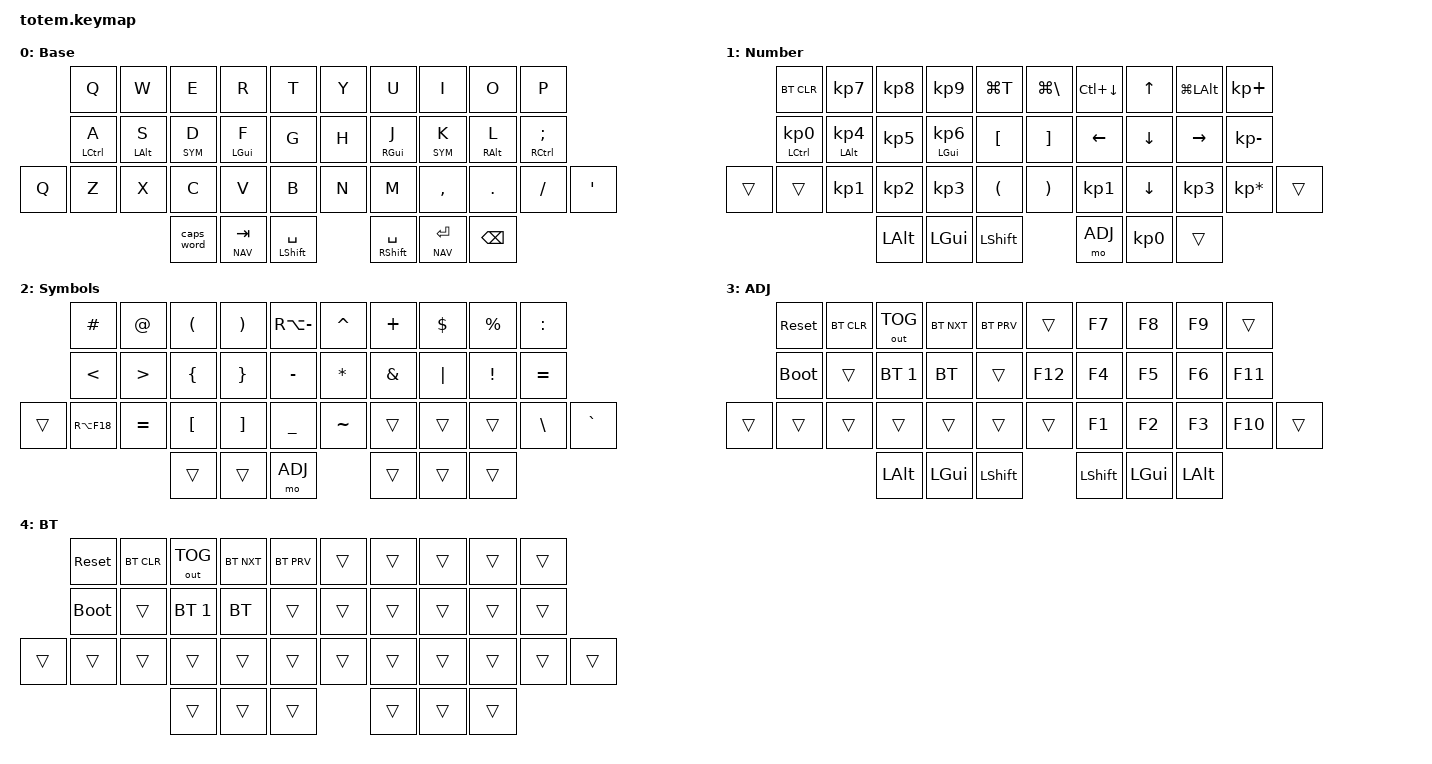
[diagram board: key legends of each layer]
//
//                                                        ▀▀▀▀▀     ▀▀▀▀▀          ▀▀█▀▀
//                                                        ▄▀▀▀▄  ▄  ▄▀▀▀▄  ▄  ▄▀▀▀▄  █  ▄▀▀▀▄
//                                                        █   █  █  █   █  █  █   █  █  █   █
//                                                         ▀▀▀   █   ▀▀▀   █   ▀▀▀   ▀   ▀▀▀
//                                                               █      ▄▄▄█▄▄▄    █   █  
//                                                               ▀      █  █  █     █▄█
//                                                             ▀▀▀▀▀    █  █  █      ▀
//                                                                      ▀  ▀  ▀
//
// ▄▄▄▄▄▄▄▄▄▄▄▄▄▄▄▄▄▄▄▄▄▄▄▄▄▄▄▄▄▄▄▄▄▄▄▄▄▄▄▄▄▄▄▄▄▄▄▄▄▄▄▄▄▄▄▄▄▄▄▄▄▄▄▄▄▄▄▄▄▄▄▄▄▄▄▄▄▄▄▄▄▄▄▄▄▄▄▄▄▄▄▄▄▄▄▄▄▄▄▄▄▄▄▄▄▄▄▄▄▄▄▄▄▄▄▄▄▄▄▄▄▄▄▄▄▄▄▄▄▄▄▄▄▄▄▄▄▄▄▄▄▄▄▄▄▄▄▄▄
       

#include <behaviors.dtsi>
#include <dt-bindings/zmk/keys.h>
#include <dt-bindings/zmk/bt.h>
#include <dt-bindings/zmk/outputs.h>

#define BASE 0
#define NAV  1
#define SYM  2
#define ADJ  3
#define SETT 4

&mt {
  quick-tap-ms = <100>;
  global-quick-tap;
  flavor = "tap-preferred";
  tapping-term-ms = <170>;
};

/ {
     combos {
            compatible = "zmk,combos";
            combo_esc {
                timeout-ms = <50>;
                key-positions = <0 1>;
                bindings = <&kp ESC>;
            };
            combo_undo {
                timeout-ms = <50>;
                key-positions = <21 22>;
                bindings = <&kp LG(X)>;
            };
            combo_alt_undo {
                timeout-ms = <50>;
                key-positions = <10 21>;
                bindings = <&kp LG(X)>;
            };
            combo_cut {
                timeout-ms = <50>;
                key-positions = <22 23>;
                bindings = <&kp LG(X)>;
            };
            combo_alt_cut {
                timeout-ms = <50>;
                key-positions = <11 22>;
                bindings = <&kp LG(X)>;
            };
            combo_copy {
                timeout-ms = <50>;
                key-positions = <23 24>;
                bindings = <&kp LG(C)>;
            };
            combo_alt_copy {
                timeout-ms = <50>;
                key-positions = <12 23>;
                bindings = <&kp LG(C)>;
            };
            combo_paste {
                timeout-ms = <50>;
                key-positions = <24 25>;
                bindings = <&kp LG(V)>;
            };
            combo_alt_paste {
                timeout-ms = <50>;
                key-positions = <15 24>;
                bindings = <&kp LG(V)>;
            };
            combo_find {
                timeout-ms = <50>;
                key-positions = <3 4>;
                bindings = <&kp LG(F)>;
            };
            combo_alt_find {
                timeout-ms = <50>;
                key-positions = <4 14>;
                bindings = <&kp LG(F)>;
            };
            combo_find_all_files {
                timeout-ms = <50>;
                key-positions = <3 4 14>;
                bindings = <&kp LG(F)>;
            };
            combo_save {
                timeout-ms = <50>;
                key-positions = <11 14>;
                bindings = <&kp LG(S)>;
            };
            combo_bt {
                timeout-ms = <50>;
                key-positions = <35 36 37>;
                bindings = <&mo SETT>;
            };
    };

    macros {
        gif: gif {
            label = "giphy";
            compatible = "zmk,behavior-macro";
            #binding-cells = <0>;
            bindings
                = <&macro_press &kp LSHFT>
                , <&macro_tap &kp N2>
                , <&macro_release &kp LSHFT>
                , <&macro_tap &kp G &kp I &kp F>
                ;
        };
    };

        keymap {
                compatible = "zmk,keymap";
// ▄▄▄▄▄▄▄▄▄▄▄▄▄▄▄▄▄▄▄▄▄▄▄▄▄▄▄▄▄▄▄▄▄▄▄▄▄▄▄▄▄▄▄▄▄▄▄▄▄▄▄▄▄▄▄▄▄▄▄▄▄▄▄▄▄▄▄▄▄▄▄▄▄▄▄▄▄▄▄▄▄▄▄▄▄▄▄▄▄▄▄▄▄▄▄▄▄▄▄▄▄▄▄▄▄▄▄▄▄▄▄▄▄▄▄▄▄▄▄▄▄▄▄▄▄▄▄▄▄▄▄▄▄▄▄▄▄▄▄▄▄▄▄▄▄▄▄▄▄

                base_layer {
display-name = "Base";
// ┏━━━━━━━━━━━━━━━━━━━━━━━━━━━━━━━━━━━━━━━┓
label= "BASE"                              ;
// ┗━━━━━━━━━━━━━━━━━━━━━━━━━━━━━━━━━━━━━━━┛
//             ┏━━━━━━━━━━━┳━━━━━━━━━━━┳━━━━━━━━━━━┳━━━━━━━━━━━┳━━━━━━━━━━━┓   ┏━━━━━━━━━━━┳━━━━━━━━━━━┳━━━━━━━━━━━┳━━━━━━━━━━━┳━━━━━━━━━━━┓
//             ┃     Q     ┃     W     ┃     E     ┃     R     ┃     T     ┃   ┃     Y     ┃     U     ┃     I     ┃     O     ┃     P     ┃
//             ┣━━━━━━━━━━━╋━━━━━━━━━━━╋━━━━━━━━━━━╋━━━━━━━━━━━╋━━━━━━━━━━━┫   ┣━━━━━━━━━━━╋━━━━━━━━━━━╋━━━━━━━━━━━╋━━━━━━━━━━━╋━━━━━━━━━━━┫
//             ┃     A     ┃     S     ┃     D     ┃     F     ┃     G     ┃   ┃     H     ┃     J     ┃     K     ┃     L     ┃     ;     ┃
// ┏━━━━━━━━━━━╋━━━━━━━━━━━╋━━━━━━━━━━━╋━━━━━━━━━━━╋━━━━━━━━━━━╋━━━━━━━━━━━┫   ┣━━━━━━━━━━━╋━━━━━━━━━━━╋━━━━━━━━━━━╋━━━━━━━━━━━╋━━━━━━━━━━━╋━━━━━━━━━━━┓
// ┃     Q     ┃     Z     ┃     X     ┃     C     ┃     V     ┃     B     ┃   ┃     N     ┃     M     ┃     ,     ┃     .     ┃     /     ┃     '     ┃
// ┗━━━━━━━━━━━┻━━━━━━━━━━━┻━━━━━━━━━━━╋━━━━━━━━━━━╋━━━━━━━━━━━╋━━━━━━━━━━━┫   ┣━━━━━━━━━━━╋━━━━━━━━━━━╋━━━━━━━━━━━╋━━━━━━━━━━━┻━━━━━━━━━━━┻━━━━━━━━━━━┛
//                                     ┃ CAPS WORD ┃    TAB    ┃    SPC    ┃   ┃    SPC    ┃    RET    ┃   BSPC    ┃
//                                     ┗━━━━━━━━━━━┻━━━━━━━━━━━┻━━━━━━━━━━━┛   ┗━━━━━━━━━━━┻━━━━━━━━━━━┻━━━━━━━━━━━┛
 bindings = <
// ╷           ╷           ╷           ╷           ╷           ╷           ╷   ╷           ╷           ╷           ╷           ╷           ╷           ╷

                &kp Q       &kp W       &kp E       &kp R       &kp T           &kp Y       &kp U       &kp I       &kp O       &kp P
                &mt LCTRL A  &mt LALT S  &lt SYM D &mt LGUI F &kp G           &kp H       &mt RGUI J &lt SYM K &mt RALT L  &mt RCTRL SEMI
    &kp Q       &kp Z       &kp X       &kp C       &kp V       &kp B           &kp N       &kp M       &kp COMMA   &kp DOT     &kp FSLH    &kp SQT
                                        &caps_word  &lt NAV TAB  &mt LSHFT SPACE &mt RSHFT SPACE  &lt NAV RET   &kp BSPC
                        >;
                };

// ▄▄▄▄▄▄▄▄▄▄▄▄▄▄▄▄▄▄▄▄▄▄▄▄▄▄▄▄▄▄▄▄▄▄▄▄▄▄▄▄▄▄▄▄▄▄▄▄▄▄▄▄▄▄▄▄▄▄▄▄▄▄▄▄▄▄▄▄▄▄▄▄▄▄▄▄▄▄▄▄▄▄▄▄▄▄▄▄▄▄▄▄▄▄▄▄▄▄▄▄▄▄▄▄▄▄▄▄▄▄▄▄▄▄▄▄▄▄▄▄▄▄▄▄▄▄▄▄▄▄▄▄▄▄▄▄▄▄▄▄▄▄▄▄▄▄▄▄▄


                nav_layer {
display-name = "Number";
// ┏━━━━━━━━━━━━━━━━━━━━━━━━━━━━━━━━━━━━━━━┓
label= "NAVI"                              ;
// ┗━━━━━━━━━━━━━━━━━━━━━━━━━━━━━━━━━━━━━━━┛
//             ┏━━━━━━━━━━━┳━━━━━━━━━━━┳━━━━━━━━━━━┳━━━━━━━━━━━┳━━━━━━━━━━━┓   ┏━━━━━━━━━━━┳━━━━━━━━━━━┳━━━━━━━━━━━┳━━━━━━━━━━━┳━━━━━━━━━━━┓
//             ┃   BT_CLR  ┃     7     ┃     8     ┃     9     ┃   CMD T   ┃   ┃     1P    ┃    EXP    ┃     UP    ┃    ALF    ┃     +     ┃
//             ┣━━━━━━━━━━━╋━━━━━━━━━━━╋━━━━━━━━━━━╋━━━━━━━━━━━╋━━━━━━━━━━━┫   ┣━━━━━━━━━━━╋━━━━━━━━━━━╋━━━━━━━━━━━╋━━━━━━━━━━━╋━━━━━━━━━━━┫
//             ┃     0     ┃     4     ┃     5     ┃     6     ┃     [     ┃   ┃     ]     ┃    LEFT   ┃    DOWN   ┃   RIGHT   ┃     -     ┃
// ┏━━━━━━━━━━━╋━━━━━━━━━━━╋━━━━━━━━━━━╋━━━━━━━━━━━╋━━━━━━━━━━━╋━━━━━━━━━━━┫   ┣━━━━━━━━━━━╋━━━━━━━━━━━╋━━━━━━━━━━━╋━━━━━━━━━━━╋━━━━━━━━━━━╋━━━━━━━━━━━┓
// ┃           ┃           ┃     1     ┃     2     ┃     3     ┃     (     ┃   ┃     )     ┃     1     ┃    DOWN   ┃     3     ┃     *     ┃           ┃
// ┗━━━━━━━━━━━┻━━━━━━━━━━━┻━━━━━━━━━━━╋━━━━━━━━━━━╋━━━━━━━━━━━╋━━━━━━━━━━━┫   ┣━━━━━━━━━━━╋━━━━━━━━━━━╋━━━━━━━━━━━╋━━━━━━━━━━━┻━━━━━━━━━━━┻━━━━━━━━━━━┛
//                                     ┃           ┃    TAB    ┃    SPC    ┃   ┃    DEL    ┃     0     ┃           ┃
//                                     ┗━━━━━━━━━━━┻━━━━━━━━━━━┻━━━━━━━━━━━┛   ┗━━━━━━━━━━━┻━━━━━━━━━━━┻━━━━━━━━━━━┛
 bindings = <
// ╷           ╷           ╷           ╷           ╷           ╷           ╷   ╷           ╷           ╷           ╷           ╷           ╷           ╷

                &bt BT_CLR     &kp KP_N7  &kp KP_N8      &kp KP_N9   &kp LG(T)        &kp LG(BSLH)    &kp LC(DOWN)   &kp UP &kp LG(LALT)   &kp KP_PLUS
                &mt LCTRL KP_N0   &mt LALT KP_N4    &kp KP_N5    &mt LGUI KP_N6   &kp LBKT        &kp RBKT    &kp LEFT   &kp DOWN   &kp RIGHT   &kp KP_MINUS
    &trans      &trans     &kp KP_N1   &kp KP_N2    &kp KP_N3   &kp LPAR        &kp RPAR    &kp KP_N1   &kp DOWN   &kp KP_N3   &kp KP_MULTIPLY &trans      
                                        &kp LALT      &kp LGUI      &kp LSHFT         &mo ADJ     &kp KP_N0   &trans      
                        >;
                };

// ▄▄▄▄▄▄▄▄▄▄▄▄▄▄▄▄▄▄▄▄▄▄▄▄▄▄▄▄▄▄▄▄▄▄▄▄▄▄▄▄▄▄▄▄▄▄▄▄▄▄▄▄▄▄▄▄▄▄▄▄▄▄▄▄▄▄▄▄▄▄▄▄▄▄▄▄▄▄▄▄▄▄▄▄▄▄▄▄▄▄▄▄▄▄▄▄▄▄▄▄▄▄▄▄▄▄▄▄▄▄▄▄▄▄▄▄▄▄▄▄▄▄▄▄▄▄▄▄▄▄▄▄▄▄▄▄▄▄▄▄▄▄▄▄▄▄▄▄▄


                sim_layer {
display-name = "Symbols";
// ┏━━━━━━━━━━━━━━━━━━━━━━━━━━━━━━━━━━━━━━━┓
label= "SYM"                               ;
// ┗━━━━━━━━━━━━━━━━━━━━━━━━━━━━━━━━━━━━━━━┛
//             ┏━━━━━━━━━━━┳━━━━━━━━━━━┳━━━━━━━━━━━┳━━━━━━━━━━━┳━━━━━━━━━━━┓   ┏━━━━━━━━━━━┳━━━━━━━━━━━┳━━━━━━━━━━━┳━━━━━━━━━━━┳━━━━━━━━━━━┓
//             ┃     #     ┃     @     ┃     (     ┃     )     ┃     –     ┃   ┃     ˆ     ┃     +     ┃     $     ┃     %     ┃     :     ┃
//             ┣━━━━━━━━━━━╋━━━━━━━━━━━╋━━━━━━━━━━━╋━━━━━━━━━━━╋━━━━━━━━━━━┫   ┣━━━━━━━━━━━╋━━━━━━━━━━━╋━━━━━━━━━━━╋━━━━━━━━━━━╋━━━━━━━━━━━┫
//             ┃     <     ┃     >     ┃     {     ┃     }     ┃     -     ┃   ┃     *     ┃     &     ┃     |     ┃     !     ┃     =     ┃
// ┏━━━━━━━━━━━╋━━━━━━━━━━━╋━━━━━━━━━━━╋━━━━━━━━━━━╋━━━━━━━━━━━╋━━━━━━━━━━━┫   ┣━━━━━━━━━━━╋━━━━━━━━━━━╋━━━━━━━━━━━╋━━━━━━━━━━━╋━━━━━━━━━━━╋━━━━━━━━━━━┓
// ┃           ┃  EMAIL1   ┃     =     ┃     [     ┃     ]     ┃     _     ┃   ┃   VOL-    ┃   VOL+    ┃   LAST    ┃   NEXT    ┃     \     ┃     `     ┃
// ┗━━━━━━━━━━━┻━━━━━━━━━━━┻━━━━━━━━━━━╋━━━━━━━━━━━╋━━━━━━━━━━━╋━━━━━━━━━━━┫   ┣━━━━━━━━━━━╋━━━━━━━━━━━╋━━━━━━━━━━━╋━━━━━━━━━━━┻━━━━━━━━━━━┻━━━━━━━━━━━┛
//                                     ┃           ┃           ┃    ADJ    ┃   ┃           ┃           ┃           ┃
//                                     ┗━━━━━━━━━━━┻━━━━━━━━━━━┻━━━━━━━━━━━┛   ┗━━━━━━━━━━━┻━━━━━━━━━━━┻━━━━━━━━━━━┛
 bindings = <
// ╷           ╷           ╷           ╷           ╷           ╷           ╷   ╷           ╷           ╷           ╷           ╷           ╷           ╷

                &kp HASH    &kp AT      &kp LPAR    &kp RPAR   &kp RA(MINUS)        &kp CARET   &kp PLUS    &kp DLLR   &kp PRCNT     &kp COLON       
                &kp LT   &kp GT      &kp LBRC   &kp RBRC   &kp MINUS            &kp STAR  &kp AMPS &kp PIPE &kp EXCL   &kp EQUAL 
    &trans      &kp RA(F18) &kp EQUAL &kp LBKT      &kp RBKT   &kp UNDER        &kp TILDE &trans &trans &trans  &kp BSLH   &kp GRAVE         
                                        &trans      &trans        &mo ADJ         &trans      &trans    &trans      
                        >;
                };

// ▄▄▄▄▄▄▄▄▄▄▄▄▄▄▄▄▄▄▄▄▄▄▄▄▄▄▄▄▄▄▄▄▄▄▄▄▄▄▄▄▄▄▄▄▄▄▄▄▄▄▄▄▄▄▄▄▄▄▄▄▄▄▄▄▄▄▄▄▄▄▄▄▄▄▄▄▄▄▄▄▄▄▄▄▄▄▄▄▄▄▄▄▄▄▄▄▄▄▄▄▄▄▄▄▄▄▄▄▄▄▄▄▄▄▄▄▄▄▄▄▄▄▄▄▄▄▄▄▄▄▄▄▄▄▄▄▄▄▄▄▄▄▄▄▄▄▄▄▄


                adjust_layer {
display-name = "ADJ";
// ┏━━━━━━━━━━━━━━━━━━━━━━━━━━━━━━━━━━━━━━━┓
label= "ADJ"                               ;
// ┗━━━━━━━━━━━━━━━━━━━━━━━━━━━━━━━━━━━━━━━┛
//             ┏━━━━━━━━━━━┳━━━━━━━━━━━┳━━━━━━━━━━━┳━━━━━━━━━━━┳━━━━━━━━━━━┓   ┏━━━━━━━━━━━┳━━━━━━━━━━━┳━━━━━━━━━━━┳━━━━━━━━━━━┳━━━━━━━━━━━┓
//             ┃   RESET   ┃ BT CLEAR  ┃  OUT TOG  ┃  BT NEXT  ┃  BT PREV  ┃   ┃           ┃    F7     ┃    F8     ┃    F9     ┃           ┃
//             ┣━━━━━━━━━━━╋━━━━━━━━━━━╋━━━━━━━━━━━╋━━━━━━━━━━━╋━━━━━━━━━━━┫   ┣━━━━━━━━━━━╋━━━━━━━━━━━╋━━━━━━━━━━━╋━━━━━━━━━━━╋━━━━━━━━━━━┫
//             ┃ BOOTLOAD  ┃           ┃   BT 1    ┃   BT 2    ┃           ┃   ┃    F12    ┃    F4     ┃    F5     ┃    F6     ┃    F11    ┃
// ┏━━━━━━━━━━━╋━━━━━━━━━━━╋━━━━━━━━━━━╋━━━━━━━━━━━╋━━━━━━━━━━━╋━━━━━━━━━━━┫   ┣━━━━━━━━━━━╋━━━━━━━━━━━╋━━━━━━━━━━━╋━━━━━━━━━━━╋━━━━━━━━━━━╋━━━━━━━━━━━┓
// ┃           ┃           ┃           ┃           ┃           ┃           ┃   ┃           ┃    F1     ┃    F2     ┃    F3     ┃    F10    ┃           ┃
// ┗━━━━━━━━━━━┻━━━━━━━━━━━┻━━━━━━━━━━━╋━━━━━━━━━━━╋━━━━━━━━━━━╋━━━━━━━━━━━┫   ┣━━━━━━━━━━━╋━━━━━━━━━━━╋━━━━━━━━━━━╋━━━━━━━━━━━┻━━━━━━━━━━━┻━━━━━━━━━━━┛
//                                     ┃           ┃           ┃           ┃   ┃           ┃           ┃           ┃
//                                     ┗━━━━━━━━━━━┻━━━━━━━━━━━┻━━━━━━━━━━━┛   ┗━━━━━━━━━━━┻━━━━━━━━━━━┻━━━━━━━━━━━┛
 bindings = <
// ╷           ╷           ╷           ╷           ╷           ╷           ╷   ╷           ╷           ╷           ╷           ╷           ╷           ╷

                &sys_reset  &bt BT_CLR &out OUT_TOG &bt BT_NXT  &bt BT_PRV      &trans      &kp F7      &kp F8      &kp F9      &trans
                &bootloader   &trans    &bt BT_SEL 1  &bt BT_SEL     &trans     &kp F12     &kp F4      &kp F5      &kp F6      &kp F11  
    &trans      &trans        &trans    &trans      &trans      &trans          &trans      &kp F1      &kp F2      &kp F3      &kp F10     &trans         
                                        &kp LALT      &kp LGUI      &kp LSHFT         &kp LSHFT      &kp LGUI      &kp LALT      
                        >;
                };

                settings_layer {
display-name = "BT";
// ┏━━━━━━━━━━━━━━━━━━━━━━━━━━━━━━━━━━━━━━━┓
label= "SETT"                               ;
// ┗━━━━━━━━━━━━━━━━━━━━━━━━━━━━━━━━━━━━━━━┛
//             ┏━━━━━━━━━━━┳━━━━━━━━━━━┳━━━━━━━━━━━┳━━━━━━━━━━━┳━━━━━━━━━━━┓   ┏━━━━━━━━━━━┳━━━━━━━━━━━┳━━━━━━━━━━━┳━━━━━━━━━━━┳━━━━━━━━━━━┓
//             ┃   RESET   ┃ BT CLEAR  ┃  OUT TOG  ┃  BT NEXT  ┃  BT PREV  ┃   ┃           ┃           ┃           ┃           ┃           ┃
//             ┣━━━━━━━━━━━╋━━━━━━━━━━━╋━━━━━━━━━━━╋━━━━━━━━━━━╋━━━━━━━━━━━┫   ┣━━━━━━━━━━━╋━━━━━━━━━━━╋━━━━━━━━━━━╋━━━━━━━━━━━╋━━━━━━━━━━━┫
//             ┃ BOOTLOAD  ┃           ┃   BT 1    ┃   BT 2    ┃           ┃   ┃           ┃           ┃           ┃           ┃           ┃
// ┏━━━━━━━━━━━╋━━━━━━━━━━━╋━━━━━━━━━━━╋━━━━━━━━━━━╋━━━━━━━━━━━╋━━━━━━━━━━━┫   ┣━━━━━━━━━━━╋━━━━━━━━━━━╋━━━━━━━━━━━╋━━━━━━━━━━━╋━━━━━━━━━━━╋━━━━━━━━━━━┓
// ┃           ┃           ┃           ┃           ┃           ┃           ┃   ┃           ┃           ┃           ┃           ┃           ┃           ┃
// ┗━━━━━━━━━━━┻━━━━━━━━━━━┻━━━━━━━━━━━╋━━━━━━━━━━━╋━━━━━━━━━━━╋━━━━━━━━━━━┫   ┣━━━━━━━━━━━╋━━━━━━━━━━━╋━━━━━━━━━━━╋━━━━━━━━━━━┻━━━━━━━━━━━┻━━━━━━━━━━━┛
//                                     ┃           ┃           ┃           ┃   ┃           ┃           ┃           ┃
//                                     ┗━━━━━━━━━━━┻━━━━━━━━━━━┻━━━━━━━━━━━┛   ┗━━━━━━━━━━━┻━━━━━━━━━━━┻━━━━━━━━━━━┛
 bindings = <
// ╷           ╷           ╷           ╷           ╷           ╷           ╷   ╷           ╷           ╷           ╷           ╷           ╷           ╷

                &sys_reset  &bt BT_CLR &out OUT_TOG &bt BT_NXT  &bt BT_PRV      &trans      &trans      &trans      &trans      &trans
                &bootloader   &trans    &bt BT_SEL 1  &bt BT_SEL     &trans     &trans     &trans      &trans      &trans      &trans  
    &trans      &trans        &trans    &trans      &trans      &trans          &trans      &trans     &trans      &trans      &trans     &trans         
                                        &trans      &trans      &trans         &trans      &trans     &trans      
                        >;
                };
        };
};
